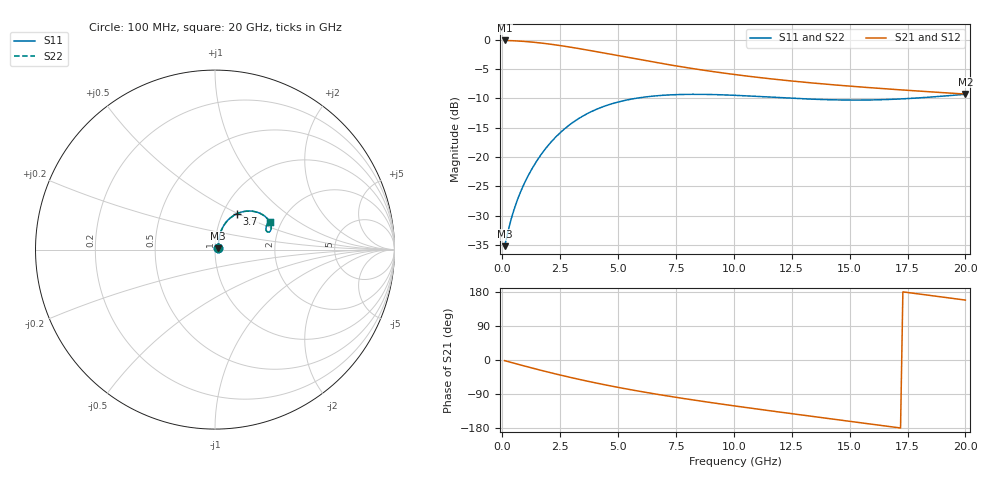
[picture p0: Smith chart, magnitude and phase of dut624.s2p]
! Touchstone file exported from HFSS 2024.1.0
!  File:  C:/UserFiles/LocalFiles/RDL_TSV_Batchsim/temp_RDL_TSV_624_1779802724.aedt
!  Generated:  09:56:22 PM May 26, 2026
!  Design:  RDL_TSV
!  Project:  temp_RDL_TSV_624_1779802724
!  Setup:  Setup1
!  Solution:  Sweep
! Variables:
!  dtsv = 5.44um
!  hbump = 3um
!  htsv = 74.66um
!  ldown = 266.69um
!  lrdl = 526.01um
!  p = 40
!  p1 = 59.56um
!  rhole = 10um
!  subl = 2904.11um
!  t = 450um
!  tdown = 4.65um
!  trdl = 2.79um
!  viad = 10um
!  wdown = 21.86um
!  wrdl = 23.93um
!  xbump = 18um
# GHz S MA R 50.000000
! Terminal data exported
! Port[1] = TM1_1_T1
! Port[2] = TM1_4_T1
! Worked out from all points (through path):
!   200 points, 100 MHz to 20 GHz, reference 50 ohm
!   highest |S21| = -0.14 dB at 100 MHz (marker M1); lowest = -9.3 dB at 20 GHz (marker M2)
!   group delay of S21, straight-line fit = 26.4 ps
!   lowest |S11| = -35.2 dB at 100 MHz (marker M3), VSWR 1.04, Z = 51.6 + j0.666 ohm
!   |S11| at or under -10 dB: start of sweep to 5.784 GHz; 12.52 GHz to 17.74 GHz (5.217 GHz wide, 34.5 % of centre)
!   |S22| runs from -35.2 to -9.3 dB; largest |S21 - S12| = 2.9e-14
!   S11 on the Smith chart (normalised r, x): 100 MHz: 1.03, +0.01; 3.7 GHz: 1.17, +0.50; 20 GHz: 1.75, +0.61
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0.1  0.01733 21.8  0.9838 -1.7  0.9838 -1.7  0.01733 21.8
! Gamma 0 0 0 0
! Port Impedance 50 0 50 0
0.4  0.03027 52.8  0.9794 -6.8  0.9794 -6.8  0.03027 52.8
0.6  0.04027 60.8  0.9751 -10.1  0.9751 -10.1  0.04027 60.8
1  0.06216 68.8  0.9636 -16.6  0.9636 -16.6  0.06215 68.8
1.4  0.08664 71.7  0.9481 -23.0  0.9481 -23.0  0.08661 71.6
1.9  0.1198 71.5  0.9238 -30.7  0.9238 -30.7  0.1197 71.5
2.4  0.1539 69.0  0.8957 -38.2  0.8957 -38.2  0.1538 69.0
2.9  0.1873 65.3  0.865 -45.4  0.865 -45.4  0.1871 65.3
3.5  0.2242 60.1  0.8264 -53.6  0.8264 -53.6  0.2239 60.1
3.7  0.2354 58.3  0.8134 -56.2  0.8134 -56.2  0.2352 58.3
4.3  0.2656 53.0  0.7745 -63.8  0.7745 -63.8  0.2653 53.0
5  0.2936 47.0  0.7304 -72.2  0.7304 -72.2  0.2932 47.0
5.9  0.3189 40.1  0.6776 -82.3  0.6776 -82.3  0.3183 40.0
6.8  0.3337 34.1  0.63 -91.6  0.63 -91.6  0.3331 34.1
8.3  0.3417 26.4  0.5634 -106.0  0.5634 -106.0  0.341 26.4
10.1  0.3347 20.7  0.502 -121.8  0.502 -121.8  0.3339 20.7
11.7  0.3225 18.3  0.4608 -135.1  0.4608 -135.1  0.3216 18.4
13.4  0.3106 18.4  0.4268 -148.9  0.4268 -148.9  0.3097 18.5
15  0.3052 20.2  0.4013 -161.8  0.4013 -161.8  0.3044 20.4
16.7  0.3089 23.0  0.3789 -175.4  0.3789 -175.4  0.3084 23.2
18.3  0.3216 25.3  0.3607 171.8  0.3607 171.8  0.3212 25.6
20  0.342 26.7  0.3435 158.2  0.3435 158.2  0.3419 26.9
